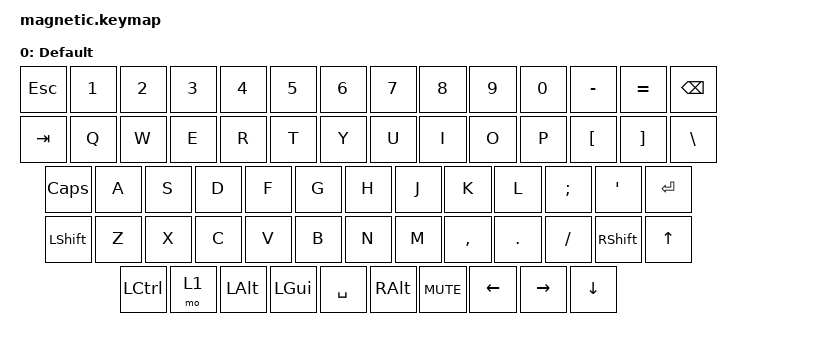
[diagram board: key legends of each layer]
#include <behaviors.dtsi>
#include <dt-bindings/zmk/keys.h>

/ {
    keymap {
        compatible = "zmk,keymap";

        default_layer { // Layer 0
            display-name = "Default";

// | ESC |  1  |  2  |  3  |  4  |  5  |  6  |  7  |  8  |  9  |  0  |  -  |  =  | BSPC |
// | TAB  |  Q  |  W  |  E  |  R  |  T  |  Y  |  U  |  I  |  O  |  P  |  [  |  ]  |  \  |
// | CAPS  |  A  |  S  |  D  |  F  |  G  |  H  |  J  |  K  |  L  |  ;  |  '  |   ENTER  |
// |  SHIFT  |  Z  |  X  |  C  |  V  |  B  |  N  |  M  |  ,  |  .  |  /  |    SHIFT     | UP  |
// | CTL | mo1 | ALT |  CMD  |              SPACE               | ALT |MUTE |LEFT |RIGHT| DOWN|

            bindings = <
    &kp ESC &kp N1 &kp N2 &kp N3 &kp N4 &kp N5 &kp N6 &kp N7 &kp   N8  &kp  N9 &kp  N0  &kp MINUS &kp EQUAL &kp BSPC
    &kp TAB  &kp Q  &kp W  &kp E  &kp R  &kp T  &kp Y  &kp U  &kp   I   &kp  O  &kp   P  &kp LBKT &kp RBKT  &kp BSLH
    &kp CLCK  &kp A  &kp S  &kp D  &kp F  &kp G  &kp H  &kp J  &kp   K   &kp  L  &kp SEMI &kp SQT           &kp RET
    &kp LSHFT  &kp Z  &kp X  &kp C  &kp V  &kp B  &kp N  &kp M  &kp COMMA &kp DOT &kp FSLH                  &kp RSHFT &kp UP
    &kp LCTRL &mo 1 &kp LALT &kp LGUI                 &kp SPACE                &kp RALT &kp C_MUTE &kp LEFT &kp RIGHT &kp DOWN
            >;
        };
    };
 };        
